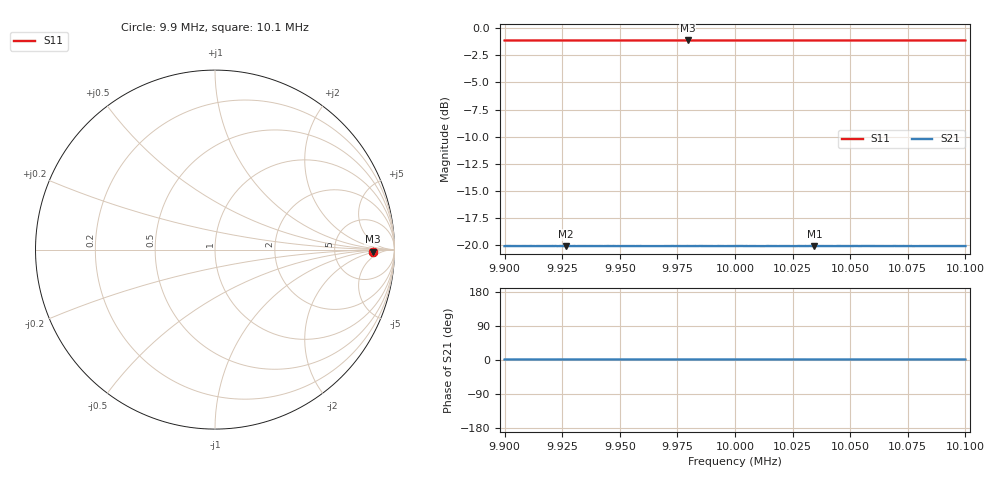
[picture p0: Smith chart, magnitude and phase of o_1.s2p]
! NanoVNA-App
! Date: 2026-10-13 22:20:28
! Start: 9,9MHz Stop: 10,1MHz Points: 401
! S-Parameter data: F S11 S21 S12 S22
# Hz S RI R 50
!  Frequency  S11_Real  S11_Imag  S21_Real  S21_Imag  S12_Real  S12_Imag  S22_Real  S22_Imag
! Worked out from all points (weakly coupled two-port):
!   401 points, 9.9 MHz to 10.1 MHz, reference 50 ohm
!   highest |S21| = -20.10 dB at 10.034 MHz (marker M1); lowest = -20.1 dB at 9.9265 MHz (marker M2)
!   lowest |S11| = -1.1 dB at 9.9795 MHz (marker M3), VSWR 15.49, Z = 766 - j81 ohm
!   |S11| at or under -10 dB: nowhere
!   S12 and S22 are empty: the file has one direction only
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9900000  0.8788 -0.0118  0.0986 0.00234  0 0  0 0
9910500  0.8789 -0.0117  0.0987 0.00237  0 0  0 0
9917000  0.8787 -0.0118  0.0986 0.00231  0 0  0 0
9921500  0.8788 -0.0118  0.0986 0.00241  0 0  0 0
9924500  0.8788 -0.0119  0.0987 0.00241  0 0  0 0
9926500  0.8787 -0.0119  0.0986 0.00238  0 0  0 0
9933500  0.8788 -0.0119  0.0987 0.00228  0 0  0 0
9967000  0.8787 -0.012  0.0986 0.00241  0 0  0 0
9979500  0.8786 -0.012  0.0987 0.0024  0 0  0 0
1e7  0.8788 -0.0122  0.0987 0.00238  0 0  0 0
1.001e7  0.8788 -0.0121  0.0987 0.00239  0 0  0 0
1.0012e7  0.8788 -0.012  0.0987 0.00238  0 0  0 0
1.00145e7  0.8788 -0.0122  0.0987 0.0024  0 0  0 0
1.00255e7  0.8788 -0.0122  0.0986 0.00239  0 0  0 0
1.0028e7  0.8788 -0.0122  0.0987 0.00245  0 0  0 0
1.00305e7  0.8787 -0.0122  0.0987 0.00231  0 0  0 0
1.00335e7  0.8788 -0.0123  0.0987 0.00235  0 0  0 0
1.00345e7  0.8789 -0.0123  0.0988 0.00244  0 0  0 0
1.00425e7  0.8788 -0.0123  0.0986 0.00243  0 0  0 0
1.0052e7  0.8787 -0.0123  0.0987 0.0025  0 0  0 0
1.0067e7  0.8788 -0.0124  0.0987 0.0024  0 0  0 0
1.01e7  0.8789 -0.0124  0.0987 0.00243  0 0  0 0
